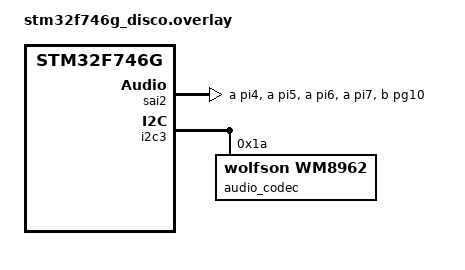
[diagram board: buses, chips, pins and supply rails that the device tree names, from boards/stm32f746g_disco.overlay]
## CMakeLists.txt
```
cmake_minimum_required(VERSION 3.21.0)

set(ZEPHYR_EXTRA_MODULES "${CMAKE_SOURCE_DIR}/../modules/stm32f746_disco_sai")

find_package(Zephyr REQUIRED HINTS $ENV{ZEPHYR_BASE})

project(audio VERSION 1.0)

target_sources(app PRIVATE src/main.c)
```

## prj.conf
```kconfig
CONFIG_MAIN_STACK_SIZE=2048
# Enable core debugging features
CONFIG_DEBUG=y

# Message queue specific debugging
CONFIG_SYS_HEAP_RUNTIME_STATS=y

# Thread monitoring
CONFIG_THREAD_MONITOR=y
CONFIG_THREAD_NAME=y
CONFIG_THREAD_STACK_INFO=y

# Logging configuration
CONFIG_LOG=y
CONFIG_LOG_MODE_IMMEDIATE=y
CONFIG_KERNEL_LOG_LEVEL_DBG=y
CONFIG_IPC_SERVICE_LOG_LEVEL_DBG=y

# Additional debugging
CONFIG_INIT_STACKS=y
CONFIG_TRACING=y
CONFIG_TRACING_BUFFER_SIZE=2048
```

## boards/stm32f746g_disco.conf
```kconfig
CONFIG_CLOCK_CONTROL_STM32_CUBE=y
#
# STM32 I2C 
CONFIG_I2C=y
CONFIG_I2C_STM32=y
# CONFIG_I2C_STM32_V2=y
# CONFIG_I2C_STM32_TIMING=n 

# Debugging
CONFIG_I2C_LOG_LEVEL_DBG=y
CONFIG_LOG=y

CONFIG_STM32_SAI_HAS_MCLK_CONFIG_OPTION=y
#
#

# CONFIG_ASSERT=y
# CONFIG_ASSERT_LEVEL=1
# CONFIG_I2S_INIT_BUFFERS=4
#
# STM32 SAI
#
CONFIG_SAI_STM32=y
# end of CONFIG_SAI_STM32

#
# AUDIO CODEC
CONFIG_AUDIO=y
CONFIG_AUDIO_CODEC=y
CONFIG_AUDIO_CODEC_WM8904=y
# CONFIG_SAMPLE_FREQ=16000
#
#
#
# STM32 DMA
# Enable DMA support (required for I2S)
CONFIG_DMA=y
CONFIG_DMA_STM32=y
#

CONFIG_INPUT=n
CONFIG_INPUT_FT5336=n
```

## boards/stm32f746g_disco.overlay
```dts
/{

  lvgl_pointer {
    /delete-property/ input; /* It is posible the PLLSAI clock may not be suitable for LCD-TFT */
    };
  chosen {
    /delete-property/ zephyr,display ;
    /delete-property/ zephyr,touch;  /* It is posible the PLLSAI clock may not be suitable for LCD-TFT */
    };
  sai2: sai@40015C00 {
      compatible = "st,stm32-sai";
      #address-cells = <1>;
      #size-cells = <0>;
      reg = <0x40015C00 0x400>;
      clocks = <&rcc STM32_CLOCK(APB2, 23U)>;
      interrupts = <91 0>;
      interrupt-parent = <&nvic>;
      dmas = <&dma2 1 4 STM32_DMA_MEM_INC STM32_DMA_FIFO_FULL
              &dma2 0 4 STM32_DMA_MEM_INC STM32_DMA_FIFO_FULL>;
      dma-names = "tx", "rx";
      mck-enabled;
      pinctrl-0 = < &sai2_mclk_a_pi4 
                    &sai2_sck_a_pi5
                    &sai2_sd_a_pi6
                    &sai2_fs_a_pi7 
                    &sai2_sd_b_pg10 /* optional for both direction (tx & rx)*/
                  >;
      pinctrl-names = "default";
      status = "okay";
  }; 

  aliases {
		i2s-codec-tx = &sai2;
	};

};

&pll {
	div-m = <21>;
	mul-n = <336>;
	div-p = <2>;
};

&rcc {
  clock-frequency = <DT_FREQ_M(200)>;
};

&dma2 {
  status = "okay";
};

&ltdc {
  status = "disabled";
};

&i2c3 {
    /delete-node/ ft5336@38; /* It is posible the PLLSAI clock may not be suitable for LCD-TFT */
    audio_codec: wm8962@1a {
      compatible = "wolfson,wm8962";
      reg = <0x1A>;
      clock-source = "MCLK";
      clocks = <&rcc STM32_CLOCK(APB2, 23U)>;
      clock-names = "mclk";
    };
};
```

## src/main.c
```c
#include <zephyr/kernel.h>
#include <zephyr/device.h>
#include <zephyr/sys/printk.h>
#include <zephyr/drivers/i2s.h>
#include <zephyr/audio/codec.h>
#include <string.h>
#include "i2s_sai_ll_stm32.h"
#include "sine.h"

// LOG_MODULE_REGISTER(main, LOG_LEVEL_DBG);

#define I2S_CODEC_TX DT_ALIAS(i2s_codec_tx)

// Audio stream information
#define SAMPLE_FREQUENCY (44100U)
#define SAMPLE_RATE (16000U)    // 16kHz
#define SAMPLE_BIT_WIDTH (16U)  // 16-bit buffer
#define NUMBER_OF_CHANNELS (2U) // no. of channel
#define BLOCK_SIZE_MS (100U)    // 100ms blocks
#define BYTES_PER_SAMPLE sizeof(int16_t)
#define SAMPLE_PER_BLOCK ((SAMPLE_RATE * BLOCK_SIZE_MS) / 1000)
#define INITIAL_BLOCKS (4U)
#define TIMEOUT (2000U)

#define BLOCK_SIZE (BYTES_PER_SAMPLE * SAMPLE_PER_BLOCK)
#define BLOCK_COUNT (INITIAL_BLOCKS + 32)
K_MEM_SLAB_DEFINE_STATIC(mem_slab, BLOCK_SIZE, BLOCK_COUNT, 4);

/* Configure transmit stream */
static bool configure_tx_streams(const struct device *i2s_dev, struct i2s_config *config)
{
  int ret;
  ret = i2s_configure(i2s_dev, I2S_DIR_TX, config);
  if (ret < 0)
  {
    printk("Failed to configure codec stream: %d\n", ret);
    return false;
  }
  return true;
}

static bool trigger_command(const struct device *i2s_dev_codec, enum i2s_trigger_cmd cmd)
{
  int ret;

  ret = i2s_trigger(i2s_dev_codec, I2S_DIR_TX, cmd);
  if (ret < 0)
  {
    printk("Failed to trigger command %d on TX: %d\n", cmd, ret);
    return false;
  }

  return true;
}

int main(void)
{
  const struct device *const i2s_dev_codec = DEVICE_DT_GET(I2S_CODEC_TX);
  const struct device *const codec_dev = DEVICE_DT_GET(DT_NODELABEL(audio_codec));
  struct i2s_config config;
  struct audio_codec_cfg audio_cfg;
  int ret = 0;

  printk("codec sample\n");

  if (!device_is_ready(i2s_dev_codec))
  {
    printk("%s is not ready\n", i2s_dev_codec->name);
    return 0;
  }

  if (!device_is_ready(codec_dev))
  {
    printk("%s is not ready", codec_dev->name);
    return 0;
  }

  audio_cfg.dai_route = AUDIO_ROUTE_PLAYBACK;
  audio_cfg.dai_type = AUDIO_DAI_TYPE_I2S;
  audio_cfg.dai_cfg.i2s.word_size = SAMPLE_BIT_WIDTH;
  audio_cfg.dai_cfg.i2s.channels = NUMBER_OF_CHANNELS;
  audio_cfg.dai_cfg.i2s.format = I2S_FMT_DATA_FORMAT_I2S;
  audio_cfg.dai_cfg.i2s.options = I2S_OPT_FRAME_CLK_MASTER;
  audio_cfg.dai_cfg.i2s.frame_clk_freq = SAMPLE_RATE;
  audio_cfg.dai_cfg.i2s.mem_slab = &mem_slab;
  audio_cfg.dai_cfg.i2s.block_size = BLOCK_SIZE;
  ret = audio_codec_configure(codec_dev, &audio_cfg);
  if (ret < 0)
  {
    printk("Failed to configure audio codec: %d\n", ret);
    return 1;
  }
  k_msleep(1000);

  config.word_size = SAMPLE_BIT_WIDTH;
  config.channels = NUMBER_OF_CHANNELS;
  config.format = I2S_FMT_DATA_FORMAT_I2S;
  config.options = I2S_OPT_BIT_CLK_MASTER | I2S_OPT_FRAME_CLK_MASTER;
  config.frame_clk_freq = SAMPLE_RATE;
  config.mem_slab = &mem_slab;
  config.block_size = BLOCK_SIZE;
  config.timeout = TIMEOUT;
  if (!configure_tx_streams(i2s_dev_codec, &config))
  {
    printk("failure to config streams\n");
    return 1;
  }

  printk("start streams\n");
  for (;;)
  {
    bool started = false;
    while (1)
    {
      printk("in streams loop\n");
      void *mem_block;
      uint32_t block_size = BLOCK_SIZE;
      int ret;
      int i;

      for (i = 0; i < 2; i++)
      {
        printk("stream %d\n", i);
        /* Play a sine wave 440Hz */
        mem_block = (void *)&__16kHz16bit_stereo_sine_pcm;

        ret = i2s_write(i2s_dev_codec, mem_block, block_size);
        if (ret != 0)
        {
          printk("Failed to write data: %d\n", ret);
          break;
        }
      }
      if (ret < 0)
      {
        printk("error %d\n", ret);
        break;
      }
      if (!started)
      {
        i2s_trigger(i2s_dev_codec, I2S_DIR_TX, I2S_TRIGGER_START);
        started = true;
        printk("trigger started\n");
      }
    }

    if (!trigger_command(i2s_dev_codec, I2S_TRIGGER_DROP))
    {
      printk("Send I2S trigger DRAIN failed: %d", ret);
      return 0;
    }
    printk("Streams stopped\n");
    return 0;
  }
  return 0;
}
```
